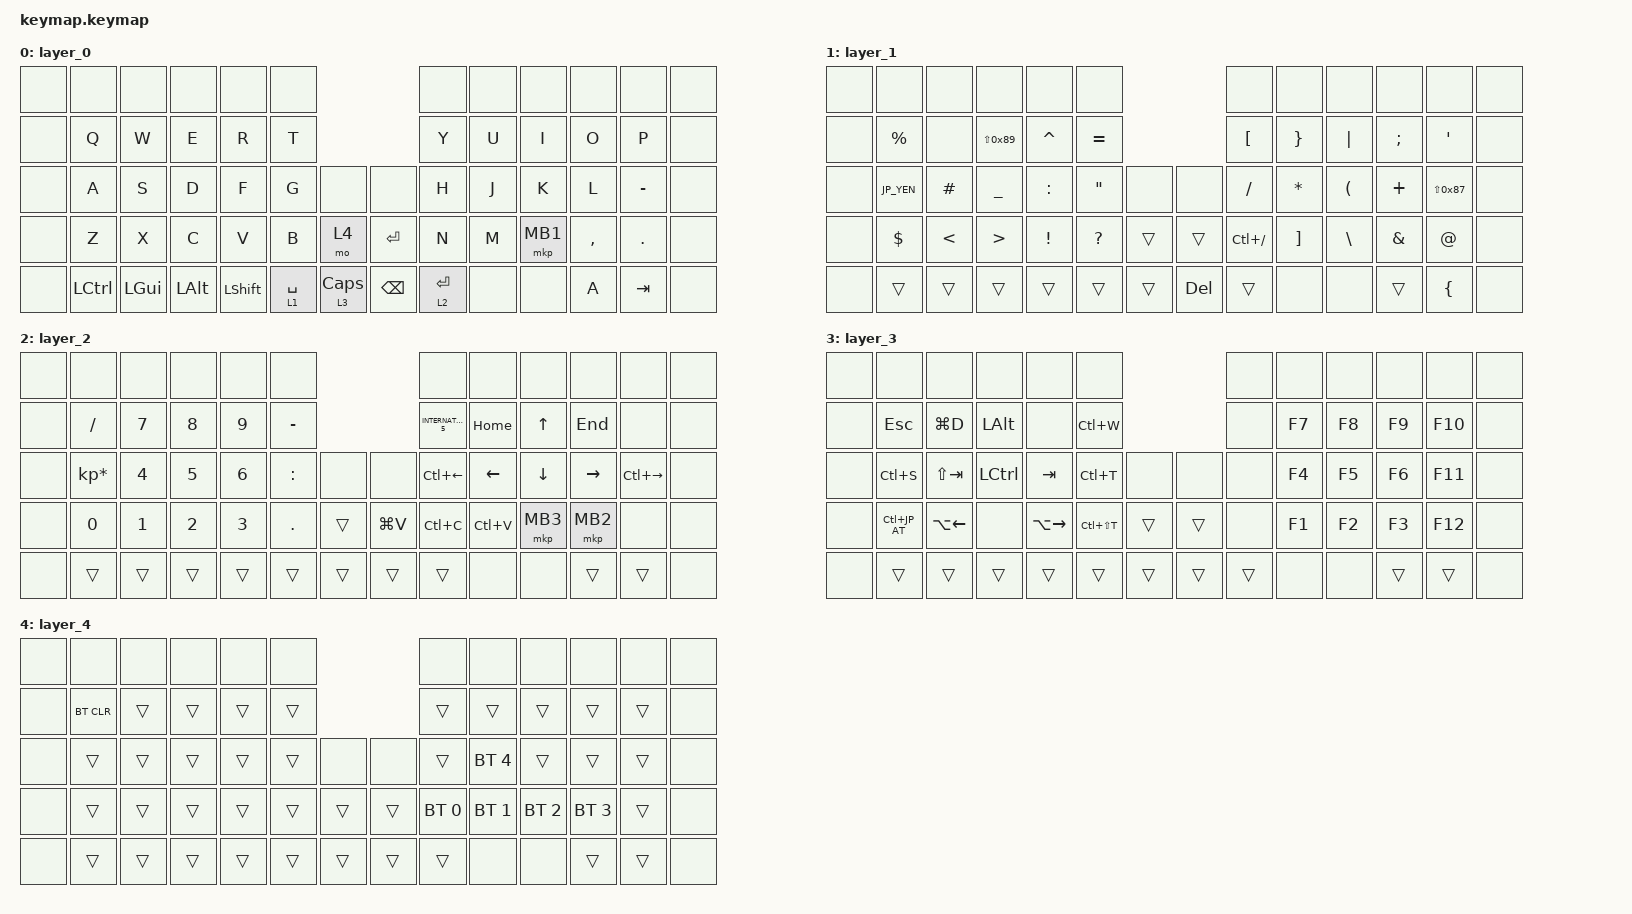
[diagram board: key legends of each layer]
#include <behaviors.dtsi>
#include <dt-bindings/zmk/bt.h>
#include <dt-bindings/zmk/keys.h>
#include <dt-bindings/zmk/pointing.h>

// OS設定を日本語キーボードのまま使用するための変換定義
#define JP_DQUOTE       AT                // "
#define JP_AMPERSAND    CARET             // &
#define JP_QUOTE        AMPERSAND         // '
#define JP_EQUAL        UNDER             // =
#define JP_CARET        EQUAL             // ^
#define JP_YEN          0x89              // ¥
#define JP_PLUS         COLON             // +
#define JP_TILDE        PLUS              // ~
#define JP_PIPE         LS(0x89)          // |
#define JP_AT           LEFT_BRACKET      // @
#define JP_COLON        SINGLE_QUOTE      // :
#define JP_ASTERISK     DOUBLE_QUOTES     // *
#define JP_BACKQUOTE    LEFT_BRACE        // `
#define JP_UNDERSCORE   LS(0x87)          // _
#define JP_LBRACKET     RIGHT_BRACKET     // [
#define JP_RBRACKET     BACKSLASH         // ]
#define JP_LPAREN       ASTERISK          // (
#define JP_RPAREN       LEFT_PARENTHESIS  // )
#define JP_LBRACE       RIGHT_BRACE       // {
#define JP_RBRACE       PIPE              // }
#define JP_KANA         LANGUAGE_1        // かな
#define JP_EISU         LANGUAGE_2        // 英数
#define JP_HANZEN       GRAVE             // 半角/全角

/ {
    combos {
        compatible = "zmk,combos";

        bt_clear {
            bindings = <&bt BT_CLR>;
            key-positions = <28 29>;
            layers = <2>;
        };
    };

    keymap {
        compatible = "zmk,keymap";

            layer_0 {
                bindings = <
                    &none     &none               &none             &none                &none                &none                                                    &none                  &none               &none               &none             &none                 &none
                    &none     &kp Q               &kp W             &kp E                &kp R                &kp T                                                    &kp Y                  &kp U               &kp I               &kp O             &kp P                 &none
                    &none     &kp A               &kp S             &kp D                &kp F                &kp G               &none              &none             &kp H                  &kp J               &kp K               &kp L             &kp MINUS             &none
                    &none     &kp Z               &kp X             &kp C                &kp V                &kp B               &mo 4              &kp RET           &kp N                  &kp M               &mkp MB1            &kp COMMA         &kp PERIOD            &none
                    &none     &kp LEFT_CONTROL    &kp LGUI          &kp LALT             &kp LEFT_SHIFT       &lt 1 SPACE         &lt 3 CAPSLOCK     &kp BACKSPACE     &lt 2 ENTER            &none               &none               &kp A             &kp TAB               &none
                >;
            };

            layer_1 {
                bindings = <
                    &none     &none               &none             &none                &none                &none                                                    &none                  &none               &none               &none             &none                 &none
                    &none     &kp PERCENT         &none             &kp JP_PIPE          &kp JP_AMPERSAND     &kp JP_CARET                                             &kp JP_AT              &kp JP_LBRACE       &kp JP_RBRACE       &kp SEMICOLON     &kp JP_COLON          &none
                    &none     &kp JP_YEN          &kp HASH          &kp JP_EQUAL         &kp JP_PLUS          &kp JP_ASTERISK     &none              &none             &kp SLASH              &kp JP_LPAREN       &kp JP_RPAREN       &kp JP_TILDE      &kp JP_UNDERSCORE     &none
                    &none     &kp DOLLAR          &kp LESS_THAN     &kp GREATER_THAN     &kp EXCLAMATION      &kp QUESTION        &trans             &trans            &kp LC(SLASH)          &kp JP_LBRACKET     &kp JP_RBRACKET     &kp JP_QUOTE      &kp JP_DQUOTE         &none
                    &none     &trans              &trans            &trans               &trans               &trans              &trans             &kp DELETE        &trans                 &none               &none               &trans            &kp JP_BACKQUOTE      &none
                >;
            };

            layer_2 {
                bindings = <
                    &none     &none               &none             &none                &none                &none                                                    &none                  &none               &none               &none             &none                 &none
                    &none     &kp SLASH           &kp NUMBER_7      &kp NUMBER_8         &kp NUMBER_9         &kp MINUS                                                &kp INTERNATIONAL_5    &kp HOME            &kp UP_ARROW        &kp END           &none                 &none
                    &none     &kp KP_ASTERISK     &kp NUMBER_4      &kp NUMBER_5         &kp NUMBER_6         &kp JP_PLUS         &none              &none             &kp LC(LEFT)           &kp LEFT            &kp DOWN            &kp RIGHT         &kp LC(RIGHT)         &none
                    &none     &kp N0              &kp NUMBER_1      &kp NUMBER_2         &kp NUMBER_3         &kp PERIOD          &trans             &kp LG(V)         &kp LC(C)              &kp LC(V)           &mkp MB3            &mkp MB2          &none                 &none
                    &none     &trans              &trans            &trans               &trans               &trans              &trans             &trans            &trans                 &none               &none               &trans            &trans                &none
                >;
            };

            layer_3 {
                bindings = <
                    &none     &none               &none             &none                &none                &none                                                    &none                  &none               &none               &none             &none                 &none
                    &none     &kp ESCAPE          &kp LG(D)         &kp LEFT_ALT         &none                &kp LC(W)                                                &none                  &kp F7              &kp F8              &kp F9            &kp F10               &none
                    &none     &kp LC(S)           &kp LS(TAB)       &kp LCTRL            &kp TAB              &kp LC(T)           &none              &none             &none                  &kp F4              &kp F5              &kp F6            &kp F11               &none
                    &none     &kp LC(JP_AT)       &kp LA(LEFT)      &none                &kp LA(RIGHT)        &kp LC(LS(T))       &trans             &trans            &none                  &kp F1              &kp F2              &kp F3            &kp F12               &none
                    &none     &trans              &trans            &trans               &trans               &trans              &trans             &trans            &trans                 &none               &none               &trans            &trans                &none
                >;
            };

            layer_4 {
                bindings = <
                    &none     &none      &none      &none      &none      &none                            &none        &none        &none        &none        &none      &none
                    &none     &bt BT_CLR &trans     &trans     &trans     &trans                           &trans       &trans       &trans       &trans       &trans     &none
                    &none     &trans     &trans     &trans     &trans     &trans     &none      &none      &trans       &bt BT_SEL 4 &trans       &trans       &trans     &none
                    &none     &trans     &trans     &trans     &trans     &trans     &trans     &trans     &bt BT_SEL 0 &bt BT_SEL 1 &bt BT_SEL 2 &bt BT_SEL 3 &trans     &none
                    &none     &trans     &trans     &trans     &trans     &trans     &trans     &trans     &trans       &none        &none        &trans       &trans     &none
                >;
            };
        };
    };
